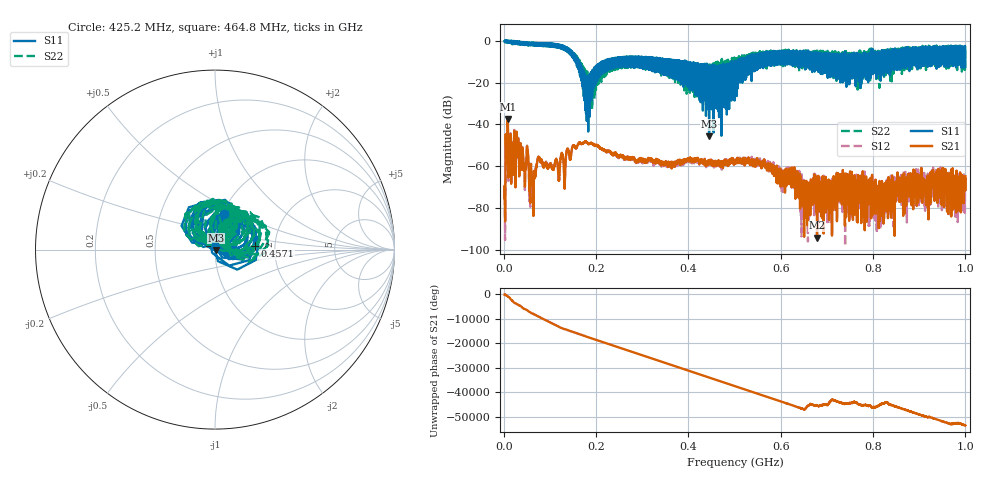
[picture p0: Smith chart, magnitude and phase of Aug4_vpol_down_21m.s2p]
!Keysight Technologies N9923A: A.12.45
!Date: Tuesday, 05 August 2025 20:44:54
!Timezone: (UTC+08:00) Kuala Lumpur, Singapore
!Model: N9923A
!Serial: MY61181427
!GPS Latitude:
!GPS Longitude:
!GPS TimeStamp: 0001-01-01 00:00:00Z
!GPS Seconds Since Last Read: 0
!CHECKSUM:0200158880
!Correction: S11(ON U)S21(ON U)S12(ON U)S22(ON U)
!S2P File: Measurements:S11,S21,S12,S22:
# Hz S DB R 50
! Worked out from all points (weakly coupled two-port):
!   4001 points, 2 MHz to 1 GHz, reference 50 ohm
!   highest |S21| = -37.35 dB at 8.736 MHz (marker M1); lowest = -94.2 dB at 678.6 MHz (marker M2)
!   lowest |S11| = -45.6 dB at 444.9 MHz (marker M3), VSWR 1.01, Z = 50.5 - j0.137 ohm
!   |S11| at or under -10 dB: 162.8 MHz to 212.3 MHz (49.47 MHz wide, 26.4 % of centre); 395.5 MHz to 494 MHz (98.48 MHz wide, 22.1 % of centre); 495.8 MHz to 500.7 MHz (4.912 MHz wide, 0.986 % of centre)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
!   |S22| runs from -36.3 to 0.1 dB; largest |S21 - S12| = 0.0012
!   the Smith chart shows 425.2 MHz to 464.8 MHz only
!   S11 on the Smith chart (normalised r, x): 425.2 MHz: 1.02, +0.42; 457.1 MHz: 1.56, +0.07; 464.8 MHz: 1.00, +0.04
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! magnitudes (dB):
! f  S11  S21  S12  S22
! 2 MHz  -0.1  -75.1  -75.9  -0.1
! 8.736 MHz  -0.3  -37.4  -37.3  -0.6
! 32.19 MHz  -0.9  -51.1  -51.2  -1.2
! 51.4 MHz  -1.8  -51.0  -50.6  -1.9
! 59.88 MHz  -1.7  -64.7  -63.9  -1.8
! 76.6 MHz  -2.1  -55.7  -55.4  -2.2
! 118.3 MHz  -3.2  -63.5  -64.1  -3.3
! 168.4 MHz  -19.2  -49.2  -49.3  -15.8
! 186.6 MHz  -23.0  -49.1  -49.0  -30.5
! 229 MHz  -8.6  -53.2  -53.2  -9.8
! 334.8 MHz  -8.5  -58.3  -58.1  -10.2
! 425.2 MHz  -13.8  -57.3  -58.2  -17.6
! 444.9 MHz  -45.6  -58.2  -58.9  -22.5
! 457.1 MHz  -13.1  -57.8  -58.3  -14.9
! 464.8 MHz  -33.7  -58.0  -59.0  -15.4
! 501 MHz  -10.1  -58.7  -58.0  -9.1
! 623.8 MHz  -5.7  -70.3  -65.1  -5.5
! 667.4 MHz  -6.0  -72.9  -74.7  -6.8
! 678.6 MHz  -8.7  -94.2  -65.5  -12.3
! 833.8 MHz  -6.2  -70.0  -82.9  -14.0
! 890.5 MHz  -11.7  -62.1  -69.8  -3.7
! 1 GHz  -12.4  -64.8  -66.3  -3.9
